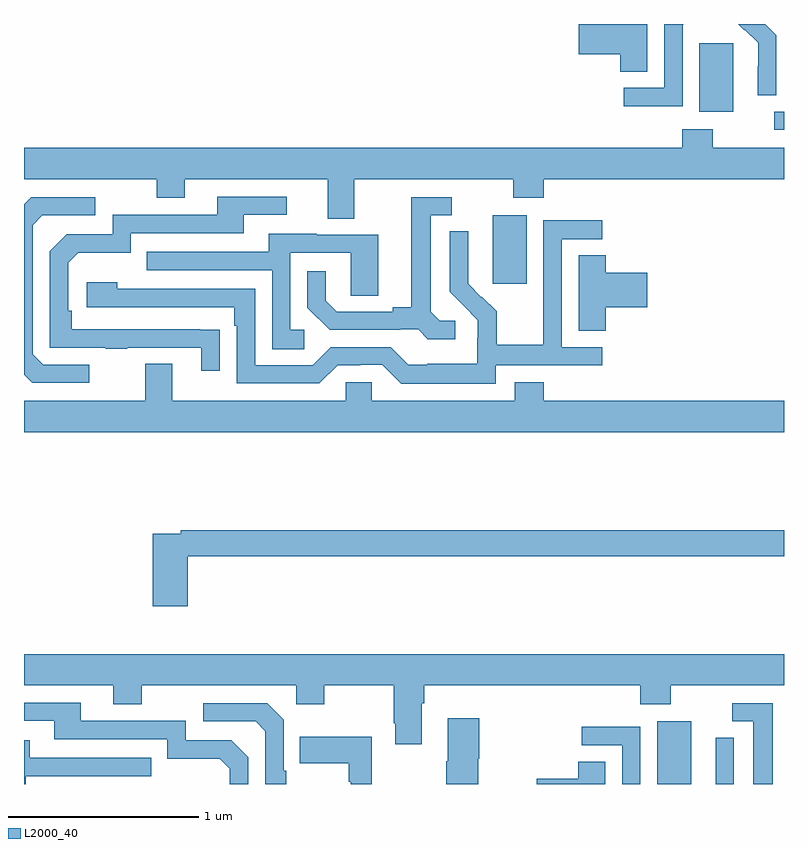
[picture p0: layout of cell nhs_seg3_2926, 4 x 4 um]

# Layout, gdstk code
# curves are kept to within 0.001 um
import gdstk
lib = gdstk.Library(unit=1e-6, precision=1e-09)
def R(c, l, rs):  # rectangles x0, y0, x1, y1
    for r in rs: c.add(gdstk.rectangle(r[:2], r[2:], *l))
def P(c, l, *ps):  # polygons
    for p in ps: c.add(gdstk.Polygon(p, *l))
L2000_40 = (2000, 40)

nhs_seg3_2926 = lib.new_cell('nhs_seg3_2926')
R(nhs_seg3_2926, L2000_40, [(266.333,696.4,266.512,696.73), (265.466,699.033,265.645,699.394), (266.949,699.843,267,699.939), (266.555,699.938,266.734,700.299)])
P(nhs_seg3_2926, L2000_40, [(266.281,700.4),(265.92,700.4),(265.92,700.241),(266.138,700.241),(266.138,700.15),(266.281,700.15)],
  [(266.958,700.342),(266.9,700.4),(266.758,700.4),(266.79,700.368),(266.793,700.371),(266.864,700.301),(266.864,700.178),(266.862,700.178),(266.862,700.024),(266.958,700.024)],
  [(266.466,700.396),(266.469,700.396),(266.469,700.4),(266.37,700.4),(266.37,700.065),(266.157,700.065),(266.157,699.967),(266.466,699.967)],
  [(264.739,699.584),(265.576,699.584),(265.576,699.485),(265.736,699.485),(265.736,699.584),(267,699.584),(267,699.748),(266.625,699.748),(266.625,699.847),(266.465,699.847),(266.465,699.748),(263,699.748),(263,699.584),(263.698,699.584),(263.698,699.485),(263.845,699.485),(263.845,699.584),(264.599,699.584),(264.599,699.376),(264.739,699.376)],
  [(264.029,698.792),(263.252,698.793),(263.252,698.89),(263.232,698.89),(263.232,699.144),(263.285,699.197),(263.562,699.197),(263.562,699.3),(264.157,699.3),(264.157,699.396),(264.382,699.396),(264.382,699.492),(264.017,699.492),(264.017,699.396),(263.466,699.396),(263.466,699.294),(263.226,699.294),(263.136,699.204),(263.136,698.697),(263.431,698.697),(263.431,698.692),(263.543,698.692),(263.543,698.697),(263.933,698.697),(263.933,698.574),(264.029,698.574)],
  [(263.344,698.607),(263.1,698.607),(263.046,698.661),(263.046,699.342),(263.097,699.393),(263.374,699.393),(263.374,699.489),(263.037,699.489),(263,699.452),(263,698.554),(263.043,698.511),(263.344,698.511)],
  [(265.27,698.838),(265.188,698.838),(265.141,698.885),(265.141,699.393),(265.252,699.393),(265.252,699.489),(265.037,699.489),(265.037,698.909),(264.941,698.909),(264.941,698.886),(264.646,698.886),(264.589,698.943),(264.589,699.1),(264.492,699.1),(264.492,698.906),(264.608,698.79),(264.98,698.79),(264.98,698.793),(265.074,698.793),(265.126,698.741),(265.27,698.741)],
  [(265.482,698.604),(266.044,698.604),(266.044,698.7),(265.83,698.7),(265.83,699.267),(266.044,699.267),(266.044,699.366),(265.734,699.366),(265.734,698.936),(265.732,698.936),(265.732,698.713),(265.487,698.713),(265.487,698.887),(265.41,698.964),(265.407,698.961),(265.337,699.032),(265.338,699.308),(265.242,699.308),(265.242,698.99),(265.388,698.842),(265.388,698.745),(265.386,698.745),(265.386,698.611),(265.123,698.611),(265.123,698.607),(265.023,698.607),(264.93,698.7),(264.615,698.7),(264.519,698.604),(264.216,698.604),(264.216,699.006),(263.492,699.006),(263.492,699.04),(263.331,699.04),(263.331,698.91),(264.107,698.91),(264.107,698.813),(264.12,698.813),(264.12,698.508),(264.555,698.508),(264.651,698.604),(264.77,698.604),(264.77,698.607),(264.885,698.607),(264.985,698.507),(265.482,698.507)],
  [(264.475,698.79),(264.402,698.79),(264.402,699.195),(264.72,699.195),(264.72,698.971),(264.865,698.971),(264.865,699.291),(264.541,699.291),(264.541,699.295),(264.287,699.295),(264.287,699.201),(263.647,699.201),(263.647,699.105),(264.306,699.105),(264.306,698.689),(264.475,698.689)],
  [(266.063,698.909),(266.281,698.909),(266.281,699.092),(266.063,699.092),(266.063,699.182),(265.919,699.182),(265.919,698.785),(266.063,698.785)],
  [(267,698.416),(265.736,698.416),(265.736,698.515),(265.583,698.515),(265.583,698.416),(264.831,698.416),(264.831,698.514),(264.693,698.514),(264.693,698.416),(263.779,698.416),(263.779,698.611),(263.639,698.611),(263.639,698.416),(263,698.416),(263,698.252),(267,698.252)],
  [(263.861,697.6),(267,697.6),(267,697.736),(263.824,697.736),(263.824,697.716),(263.678,697.716),(263.678,697.335),(263.861,697.335)],
  [(265.093,696.824),(265.106,696.824),(265.106,696.92),(266.243,696.92),(266.243,696.821),(266.403,696.821),(266.403,696.92),(267,696.92),(267,697.084),(263,697.084),(263,696.92),(263.471,696.92),(263.471,696.821),(263.619,696.821),(263.619,696.92),(264.432,696.92),(264.432,696.821),(264.579,696.821),(264.579,696.92),(264.946,696.92),(264.946,696.721),(264.953,696.721),(264.953,696.609),(265.093,696.609)],
  [(264.18,696.54),(264.09,696.63),(263.85,696.63),(263.85,696.732),(263.299,696.732),(263.299,696.828),(263,696.828),(263,696.732),(263.159,696.732),(263.159,696.636),(263.754,696.636),(263.754,696.533),(264.031,696.533),(264.084,696.48),(264.084,696.4),(264.18,696.4)],
  [(266.941,696.825),(266.727,696.825),(266.727,696.729),(266.837,696.729),(266.837,696.4),(266.941,696.4)],
  [(264.379,696.469),(264.366,696.469),(264.366,696.738),(264.279,696.825),(263.943,696.825),(263.943,696.729),(264.219,696.729),(264.27,696.678),(264.27,696.4),(264.379,696.4)],
  [(265.392,696.532),(265.397,696.532),(265.397,696.745),(265.229,696.745),(265.229,696.521),(265.222,696.521),(265.222,696.4),(265.392,696.4)],
  [(266.244,696.702),(265.935,696.702),(265.935,696.603),(266.148,696.603),(266.148,696.4),(266.244,696.4)],
  [(264.829,696.649),(264.451,696.649),(264.451,696.509),(264.708,696.509),(264.708,696.413),(264.72,696.413),(264.72,696.4),(264.829,696.4)],
  [(266.736,696.644),(266.64,696.644),(266.64,696.49),(266.642,696.49),(266.642,696.4),(266.736,696.4)],
  [(263.01,696.441),(263.669,696.441),(263.669,696.537),(263.029,696.537),(263.029,696.631),(263,696.631),(263,696.4),(263.01,696.4)],
  [(266.059,696.518),(265.916,696.518),(265.916,696.428),(265.698,696.428),(265.698,696.4),(266.059,696.4)])

lib.write_gds('nhs_seg3_2926.gds')
